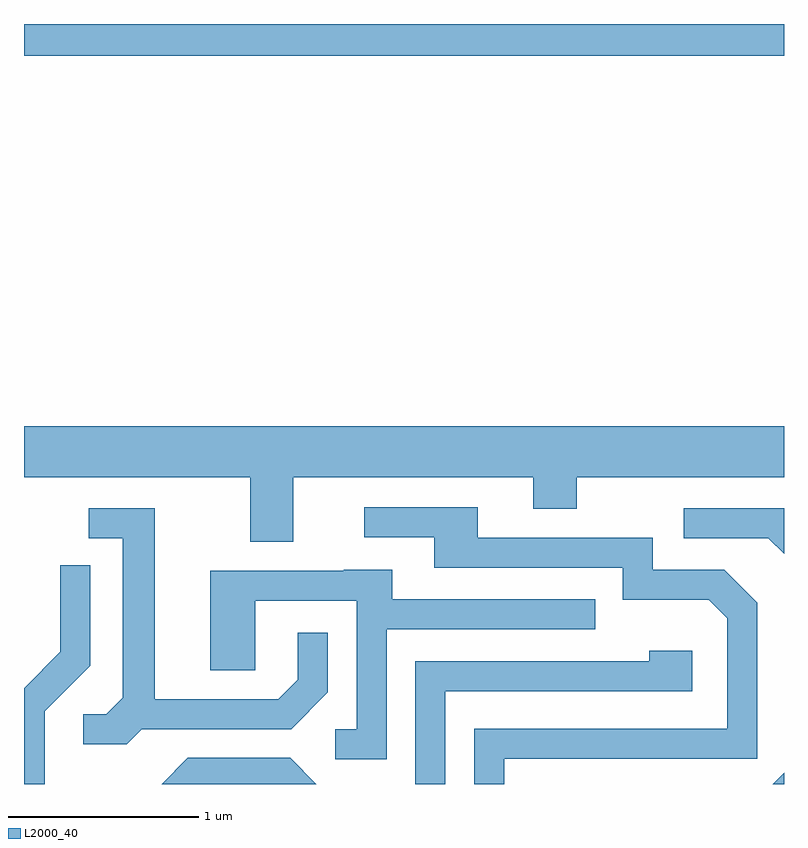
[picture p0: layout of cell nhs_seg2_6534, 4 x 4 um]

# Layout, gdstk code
import gdstk
lib = gdstk.Library(unit=1e-6, precision=1e-09)
def R(c, l, rs):  # rectangles x0, y0, x1, y1
    for r in rs: c.add(gdstk.rectangle(r[:2], r[2:], *l))
def P(c, l, *ps):  # polygons
    for p in ps: c.add(gdstk.Polygon(p, *l))
L2000_40 = (2000, 40)

nhs_seg2_6534 = lib.new_cell('nhs_seg2_6534')
R(nhs_seg2_6534, L2000_40, [(377.611,1061.636,381.611,1061.802)])
P(nhs_seg2_6534, L2000_40, [(379.029,1059.416),(380.291,1059.416),(380.291,1059.251),(380.519,1059.251),(380.519,1059.416),(381.611,1059.416),(381.611,1059.684),(377.611,1059.684),(377.611,1059.416),(378.801,1059.416),(378.801,1059.076),(379.029,1059.076)],
  [(380.139,1057.936),(381.469,1057.936),(381.469,1058.757),(381.297,1058.929),(380.919,1058.929),(380.919,1059.099),(379.999,1059.099),(379.999,1059.259),(379.403,1059.259),(379.403,1059.101),(379.771,1059.101),(379.771,1058.941),(380.761,1058.941),(380.761,1058.771),(381.214,1058.771),(381.311,1058.674),(381.311,1058.094),(379.981,1058.094),(379.981,1057.802),(380.139,1057.802)],
  [(381.611,1059.254),(381.083,1059.254),(381.083,1059.096),(381.529,1059.096),(381.611,1059.014)],
  [(378.232,1058.091),(379.017,1058.091),(379.209,1058.284),(379.209,1058.598),(379.051,1058.598),(379.051,1058.352),(378.949,1058.249),(378.299,1058.249),(378.299,1059.254),(377.953,1059.254),(377.953,1059.096),(378.131,1059.096),(378.131,1058.257),(378.044,1058.169),(377.923,1058.169),(377.923,1058.011),(378.152,1058.011)],
  [(377.719,1058.184),(377.959,1058.424),(377.959,1058.953),(377.801,1058.953),(377.801,1058.497),(377.611,1058.307),(377.611,1057.802),(377.719,1057.802)],
  [(379.519,1058.616),(380.618,1058.616),(380.618,1058.774),(379.549,1058.774),(379.549,1058.929),(379.295,1058.929),(379.295,1058.924),(378.591,1058.924),(378.591,1058.401),(378.829,1058.401),(378.829,1058.766),(379.361,1058.766),(379.361,1058.089),(379.248,1058.089),(379.248,1057.931),(379.519,1057.931)],
  [(379.829,1058.291),(381.129,1058.291),(381.129,1058.504),(380.901,1058.504),(380.901,1058.449),(379.671,1058.449),(379.671,1057.802),(379.829,1057.802)],
  [(379.012,1057.939),(378.474,1057.939),(378.337,1057.802),(379.149,1057.802)],
  [(381.611,1057.862),(381.552,1057.802),(381.611,1057.802)])

lib.write_gds('nhs_seg2_6534.gds')
